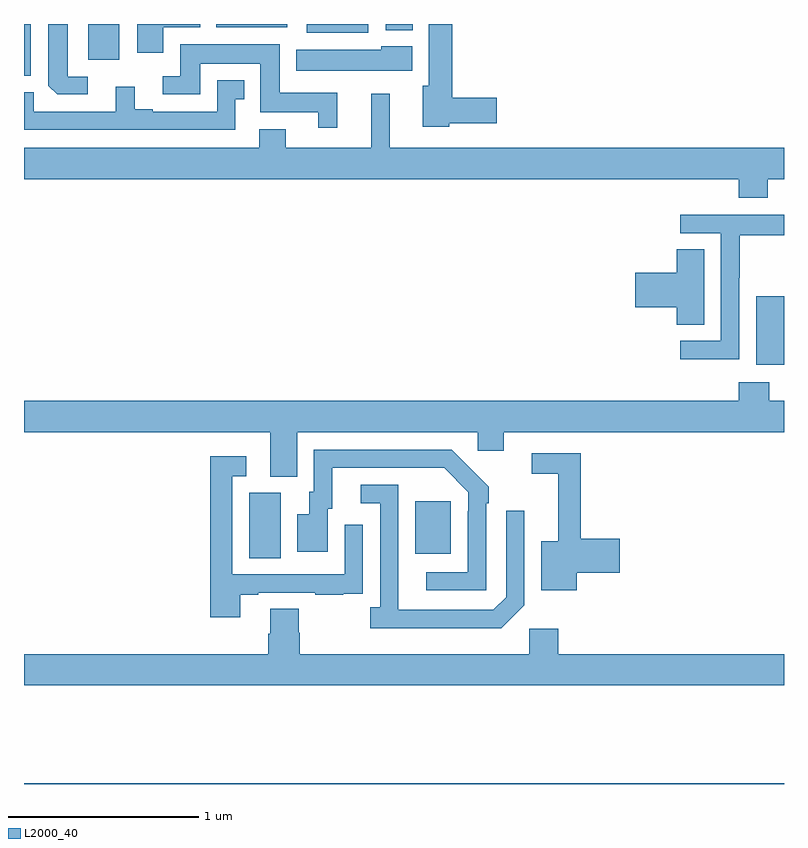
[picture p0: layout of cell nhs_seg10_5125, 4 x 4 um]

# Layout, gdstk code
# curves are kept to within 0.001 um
import gdstk
lib = gdstk.Library(unit=1e-6, precision=1e-09)
def R(c, l, rs):  # rectangles x0, y0, x1, y1
    for r in rs: c.add(gdstk.rectangle(r[:2], r[2:], *l))
def P(c, l, *ps):  # polygons
    for p in ps: c.add(gdstk.Polygon(p, *l))
L2000_40 = (2000, 40)

nhs_seg10_5125 = lib.new_cell('nhs_seg10_5125')
R(nhs_seg10_5125, L2000_40, [(409,1262.5,413,1262.504), (410.186,1263.688,410.35,1264.032), (411.059,1263.713,411.247,1263.988), (412.853,1264.706,413,1265.067), (409,1266.227,409.036,1266.5), (409.337,1266.312,409.501,1266.5), (410.489,1266.455,410.812,1266.5), (410.904,1266.468,411.046,1266.5), (410.012,1266.482,410.386,1266.5)])
P(nhs_seg10_5125, L2000_40, [(409.732,1266.482),(409.927,1266.482),(409.927,1266.5),(409.595,1266.5),(409.595,1266.348),(409.732,1266.348)],
  [(411.237,1265.978),(411.487,1265.978),(411.487,1266.113),(411.254,1266.113),(411.254,1266.5),(411.131,1266.5),(411.131,1266.174),(411.098,1266.174),(411.098,1265.96),(411.237,1265.96)],
  [(409.336,1266.222),(409.231,1266.222),(409.231,1266.5),(409.127,1266.5),(409.127,1266.286),(409.128,1266.286),(409.128,1266.175),(409.174,1266.129),(409.336,1266.129)],
  [(410.648,1266.139),(410.347,1266.139),(410.347,1266.394),(409.823,1266.394),(409.823,1266.225),(409.731,1266.225),(409.731,1266.129),(409.927,1266.129),(409.927,1266.29),(410.243,1266.29),(410.243,1266.035),(410.549,1266.035),(410.549,1265.955),(410.648,1265.955)],
  [(411.043,1266.382),(410.88,1266.382),(410.88,1266.364),(410.432,1266.364),(410.432,1266.254),(411.043,1266.254)],
  [(410.112,1266.105),(410.158,1266.105),(410.158,1266.205),(410.016,1266.205),(410.016,1266.039),(409.678,1266.039),(409.678,1266.052),(409.582,1266.052),(409.582,1266.169),(409.484,1266.169),(409.484,1266.039),(409.05,1266.039),(409.05,1266.142),(409,1266.142),(409,1265.943),(410.112,1265.943)],
  [(412.915,1265.684),(413,1265.684),(413,1265.848),(410.926,1265.848),(410.926,1266.133),(410.828,1266.133),(410.828,1265.848),(410.377,1265.848),(410.377,1265.947),(410.237,1265.947),(410.237,1265.848),(409,1265.848),(409,1265.684),(412.763,1265.684),(412.763,1265.585),(412.915,1265.585)],
  [(412.764,1265.164),(412.767,1265.164),(412.767,1265.388),(413,1265.388),(413,1265.496),(412.455,1265.496),(412.455,1265.4),(412.668,1265.4),(412.668,1264.833),(412.455,1264.833),(412.455,1264.735),(412.764,1264.735)],
  [(412.579,1265.315),(412.436,1265.315),(412.436,1265.192),(412.218,1265.192),(412.218,1265.009),(412.436,1265.009),(412.436,1264.918),(412.579,1264.918)],
  [(410.437,1264.352),(411.387,1264.352),(411.387,1264.254),(411.526,1264.254),(411.526,1264.352),(413,1264.352),(413,1264.516),(412.923,1264.516),(412.923,1264.615),(412.763,1264.615),(412.763,1264.516),(409,1264.516),(409,1264.352),(410.297,1264.352),(410.297,1264.117),(410.437,1264.117)],
  [(411.432,1263.977),(411.447,1263.977),(411.447,1264.065),(411.25,1264.26),(410.526,1264.26),(410.526,1264.038),(410.501,1264.038),(410.501,1263.919),(410.438,1263.919),(410.438,1263.723),(410.599,1263.723),(410.599,1263.948),(410.623,1263.948),(410.623,1264.164),(411.211,1264.164),(411.339,1264.035),(411.339,1263.935),(411.336,1263.935),(411.336,1263.615),(411.117,1263.615),(411.117,1263.519),(411.432,1263.519)],
  [(411.91,1263.613),(412.135,1263.613),(412.135,1263.791),(411.929,1263.791),(411.929,1264.242),(411.672,1264.242),(411.672,1264.134),(411.812,1264.134),(411.812,1263.778),(411.722,1263.778),(411.722,1263.521),(411.91,1263.521)],
  [(410.137,1263.495),(410.233,1263.495),(410.233,1263.507),(410.533,1263.507),(410.533,1263.495),(410.681,1263.495),(410.681,1263.501),(410.783,1263.501),(410.783,1263.61),(410.784,1263.61),(410.784,1263.865),(410.688,1263.865),(410.688,1263.603),(410.097,1263.603),(410.097,1264.119),(410.17,1264.119),(410.17,1264.225),(409.981,1264.225),(409.981,1263.378),(410.137,1263.378)],
  [(411.633,1263.441),(411.633,1263.937),(411.537,1263.937),(411.537,1263.483),(411.471,1263.417),(410.971,1263.417),(410.97,1264.074),(410.772,1264.074),(410.772,1263.978),(410.874,1263.978),(410.874,1263.43),(410.823,1263.43),(410.823,1263.32),(411.512,1263.32)],
  [(413,1263.184),(411.812,1263.184),(411.812,1263.316),(411.66,1263.316),(411.66,1263.184),(410.45,1263.184),(410.45,1263.297),(410.445,1263.297),(410.445,1263.422),(410.297,1263.422),(410.297,1263.29),(410.285,1263.29),(410.285,1263.184),(409,1263.184),(409,1263.02),(413,1263.02)])

lib.write_gds('nhs_seg10_5125.gds')
